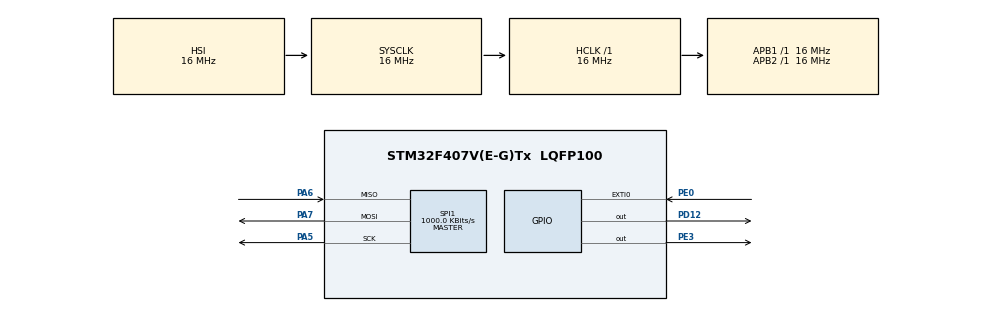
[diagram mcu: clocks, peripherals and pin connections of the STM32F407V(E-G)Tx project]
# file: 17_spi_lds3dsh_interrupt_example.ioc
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Mcu.Family=STM32F4
Mcu.Name=STM32F407V(E-G)Tx
Mcu.Package=LQFP100
NVIC.EXTI0_IRQn=true\:0\:0\:false\:false\:true\:true
NVIC.PriorityGroup=NVIC_PRIORITYGROUP_4
PA13.Mode=Serial_Wire
PA13.Signal=SYS_JTMS-SWDIO
PA14.Mode=Serial_Wire
PA14.Signal=SYS_JTCK-SWCLK
PA5.Mode=Full_Duplex_Master
PA5.Signal=SPI1_SCK
PA6.Mode=Full_Duplex_Master
PA6.Signal=SPI1_MISO
PA7.Mode=Full_Duplex_Master
PA7.Signal=SPI1_MOSI
PD12.PinState=GPIO_PIN_SET
PD12.Signal=GPIO_Output
PE0.Signal=GPXTI0
PE3.Signal=GPIO_Output
ProjectManager.HeapSize=0x200
ProjectManager.StackSize=0x400
ProjectManager.TargetToolchain=MDK-ARM V5
RCC.AHBFreq_Value=16000000
RCC.APB1Freq_Value=16000000
RCC.APB2Freq_Value=16000000
RCC.CortexFreq_Value=16000000
RCC.HSE_VALUE=25000000
RCC.HSI_VALUE=16000000
RCC.LSE_VALUE=32768
RCC.SYSCLKFreq_VALUE=16000000
RCC.VCOOutputFreq_Value=192000000
SPI1.BaudRatePrescaler=SPI_BAUDRATEPRESCALER_16
SPI1.CalculateBaudRate=1000.0 KBits/s
SPI1.Direction=SPI_DIRECTION_2LINES
SPI1.Mode=SPI_MODE_MASTER
SPI1.VirtualType=VM_MASTER
board=17_spi_lds3dsh_interrupt_example

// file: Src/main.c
/**
  ******************************************************************************
  * File Name          : main.c
  * Description        : Main program body
  ******************************************************************************
  ** This notice applies to any and all portions of this file
  * that are not between comment pairs USER CODE BEGIN and
  * USER CODE END. Other portions of this file, whether
  * inserted by the user or by software development tools
  * are owned by their respective copyright owners.
  *
  * COPYRIGHT(c) 2018 STMicroelectronics
  *
  * Redistribution and use in source and binary forms, with or without modification,
  * are permitted provided that the following conditions are met:
  *   1. Redistributions of source code must retain the above copyright notice,
  *      this list of conditions and the following disclaimer.
  *   2. Redistributions in binary form must reproduce the above copyright notice,
  *      this list of conditions and the following disclaimer in the documentation
  *      and/or other materials provided with the distribution.
  *   3. Neither the name of STMicroelectronics nor the names of its contributors
  *      may be used to endorse or promote products derived from this software
  *      without specific prior written permission.
  *
  * THIS SOFTWARE IS PROVIDED BY THE COPYRIGHT HOLDERS AND CONTRIBUTORS "AS IS"
  * AND ANY EXPRESS OR IMPLIED WARRANTIES, INCLUDING, BUT NOT LIMITED TO, THE
  * IMPLIED WARRANTIES OF MERCHANTABILITY AND FITNESS FOR A PARTICULAR PURPOSE ARE
  * DISCLAIMED. IN NO EVENT SHALL THE COPYRIGHT HOLDER OR CONTRIBUTORS BE LIABLE
  * FOR ANY DIRECT, INDIRECT, INCIDENTAL, SPECIAL, EXEMPLARY, OR CONSEQUENTIAL
  * DAMAGES (INCLUDING, BUT NOT LIMITED TO, PROCUREMENT OF SUBSTITUTE GOODS OR
  * SERVICES; LOSS OF USE, DATA, OR PROFITS; OR BUSINESS INTERRUPTION) HOWEVER
  * CAUSED AND ON ANY THEORY OF LIABILITY, WHETHER IN CONTRACT, STRICT LIABILITY,
  * OR TORT (INCLUDING NEGLIGENCE OR OTHERWISE) ARISING IN ANY WAY OUT OF THE USE
  * OF THIS SOFTWARE, EVEN IF ADVISED OF THE POSSIBILITY OF SUCH DAMAGE.
  *
  ******************************************************************************
  */
#include "main.h"
#include "stm32f4xx_hal.h"

/* USER CODE BEGIN Includes */
 uint8_t spiTxBuf[2],spiRxBuf[2];
/* USER CODE END Includes */

SPI_HandleTypeDef hspi1;

/* USER CODE BEGIN PV */
/* Private variables ---------------------------------------------------------*/

/* USER CODE END PV */

void SystemClock_Config(void);
static void MX_GPIO_Init(void);
static void MX_SPI1_Init(void);

/* USER CODE BEGIN PFP */
/* Private function prototypes -----------------------------------------------*/

/* USER CODE END PFP */

int main(void)
{

  /* MCU Configuration----------------------------------------------------------*/

  /* Reset of all peripherals, Initializes the Flash interface and the Systick. */
  HAL_Init();

  /* Configure the system clock */
  SystemClock_Config();

  /* Initialize all configured peripherals */
  MX_GPIO_Init();
  MX_SPI1_Init();

  /* USER CODE BEGIN 2 */

		/****** Spi Transmit******** */
		// 1.bring slave select low
		// write modu için e3 0 olmali,degil belli slave'e baglanmak için olmali....
		HAL_GPIO_WritePin(GPIOE,GPIO_PIN_3,GPIO_PIN_RESET);
		// 2.Transmit register + data
		spiTxBuf[0]=0x20;
		spiTxBuf[1]=0x11; // degistirdik deger 11 di frekans ile oynadik...
		// datasheetten bakabilirsin... 0000 4 bit e göre deger aliyor..
		HAL_SPI_Transmit(&hspi1,spiTxBuf,2,50); // 2 byte 50 ise timeout
																					 // 0x20 registerina 0x11 bilgisi gider.....
		// 3.Bring slave select high
		HAL_GPIO_WritePin(GPIOE,GPIO_PIN_3,GPIO_PIN_SET);

	 /* **********Spi Receive************ */

	// 1 .bring slave select low
	HAL_GPIO_WritePin(GPIOE,GPIO_PIN_3,GPIO_PIN_RESET);
	// 2.Transmit register +0x80 (to set MSB bit to high ,read mode)
	spiTxBuf[0]= 0x20|0x80; // en yüksek bit 1 oldu sanirsam..okuma modu olsun diye.
	HAL_SPI_Transmit(&hspi1,spiTxBuf,1,50); // Gönderdik.tek veri
	// 3.Receive data
	HAL_SPI_Receive(&hspi1,spiRxBuf,1,50); // Aldik.tek veri
	// 4.Bring slave selet high
	HAL_GPIO_WritePin(GPIOE,GPIO_PIN_3,GPIO_PIN_SET);

	  // 1.bring slave select low
		// write modu için e3 0 olmali ,degil belli slave'e baglanmak için olmali....
		HAL_GPIO_WritePin(GPIOE,GPIO_PIN_3,GPIO_PIN_RESET);
		// 2.Transmit register + data
		spiTxBuf[0]=0x23;   // cntrl_reg3 adresi
		spiTxBuf[1]=0xC8;   // interrupt1 aktif olacak bilgisi..
		HAL_SPI_Transmit(&hspi1,spiTxBuf,2,50); // 2 byte 50 ise timeout
																					 // 0x23 registerina 0xC8 bilgisi gider.....
		// 3.Bring slave select high
		HAL_GPIO_WritePin(GPIOE,GPIO_PIN_3,GPIO_PIN_SET);

	/* USER CODE END 2 */

  /* Infinite loop */
  while (1)
  {

		 // kodu asagidaki interrupt'in içine attik

  }

}

/** System Clock Configuration
*/
void SystemClock_Config(void)
{

  RCC_OscInitTypeDef RCC_OscInitStruct;
  RCC_ClkInitTypeDef RCC_ClkInitStruct;

    /**Configure the main internal regulator output voltage
    */
  __HAL_RCC_PWR_CLK_ENABLE();

  __HAL_PWR_VOLTAGESCALING_CONFIG(PWR_REGULATOR_VOLTAGE_SCALE1);

    /**Initializes the CPU, AHB and APB busses clocks
    */
  RCC_OscInitStruct.OscillatorType = RCC_OSCILLATORTYPE_HSI;
  RCC_OscInitStruct.HSIState = RCC_HSI_ON;
  RCC_OscInitStruct.HSICalibrationValue = 16;
  RCC_OscInitStruct.PLL.PLLState = RCC_PLL_NONE;
  if (HAL_RCC_OscConfig(&RCC_OscInitStruct) != HAL_OK)
  {
    _Error_Handler(__FILE__, __LINE__);
  }

    /**Initializes the CPU, AHB and APB busses clocks
    */
  RCC_ClkInitStruct.ClockType = RCC_CLOCKTYPE_HCLK|RCC_CLOCKTYPE_SYSCLK
                              |RCC_CLOCKTYPE_PCLK1|RCC_CLOCKTYPE_PCLK2;
  RCC_ClkInitStruct.SYSCLKSource = RCC_SYSCLKSOURCE_HSI;
  RCC_ClkInitStruct.AHBCLKDivider = RCC_SYSCLK_DIV1;
  RCC_ClkInitStruct.APB1CLKDivider = RCC_HCLK_DIV1;
  RCC_ClkInitStruct.APB2CLKDivider = RCC_HCLK_DIV1;

  if (HAL_RCC_ClockConfig(&RCC_ClkInitStruct, FLASH_LATENCY_0) != HAL_OK)
  {
    _Error_Handler(__FILE__, __LINE__);
  }

    /**Configure the Systick interrupt time
    */
  HAL_SYSTICK_Config(HAL_RCC_GetHCLKFreq()/1000);

    /**Configure the Systick
    */
  HAL_SYSTICK_CLKSourceConfig(SYSTICK_CLKSOURCE_HCLK);

  /* SysTick_IRQn interrupt configuration */
  HAL_NVIC_SetPriority(SysTick_IRQn, 0, 0);
}

/* SPI1 init function */
static void MX_SPI1_Init(void)
{

  /* SPI1 parameter configuration*/
  hspi1.Instance = SPI1;
  hspi1.Init.Mode = SPI_MODE_MASTER;
  hspi1.Init.Direction = SPI_DIRECTION_2LINES;
  hspi1.Init.DataSize = SPI_DATASIZE_8BIT;
  hspi1.Init.CLKPolarity = SPI_POLARITY_LOW;
  hspi1.Init.CLKPhase = SPI_PHASE_1EDGE;
  hspi1.Init.NSS = SPI_NSS_SOFT;
  hspi1.Init.BaudRatePrescaler = SPI_BAUDRATEPRESCALER_16;
  hspi1.Init.FirstBit = SPI_FIRSTBIT_MSB;
  hspi1.Init.TIMode = SPI_TIMODE_DISABLE;
  hspi1.Init.CRCCalculation = SPI_CRCCALCULATION_DISABLE;
  hspi1.Init.CRCPolynomial = 10;
  if (HAL_SPI_Init(&hspi1) != HAL_OK)
  {
    _Error_Handler(__FILE__, __LINE__);
  }

}

/** Configure pins as
        * Analog
        * Input
        * Output
        * EVENT_OUT
        * EXTI
*/
static void MX_GPIO_Init(void)
{

  GPIO_InitTypeDef GPIO_InitStruct;

  /* GPIO Ports Clock Enable */
  __HAL_RCC_GPIOE_CLK_ENABLE();
  __HAL_RCC_GPIOA_CLK_ENABLE();
  __HAL_RCC_GPIOD_CLK_ENABLE();

  /*Configure GPIO pin Output Level */
  HAL_GPIO_WritePin(GPIOE, GPIO_PIN_3, GPIO_PIN_RESET);

  /*Configure GPIO pin Output Level */
  HAL_GPIO_WritePin(GPIOD, GPIO_PIN_12, GPIO_PIN_SET);

  /*Configure GPIO pin : PE3 */
  GPIO_InitStruct.Pin = GPIO_PIN_3;
  GPIO_InitStruct.Mode = GPIO_MODE_OUTPUT_PP;
  GPIO_InitStruct.Pull = GPIO_NOPULL;
  GPIO_InitStruct.Speed = GPIO_SPEED_FREQ_LOW;
  HAL_GPIO_Init(GPIOE, &GPIO_InitStruct);

  /*Configure GPIO pin : PD12 */
  GPIO_InitStruct.Pin = GPIO_PIN_12;
  GPIO_InitStruct.Mode = GPIO_MODE_OUTPUT_PP;
  GPIO_InitStruct.Pull = GPIO_NOPULL;
  GPIO_InitStruct.Speed = GPIO_SPEED_FREQ_LOW;
  HAL_GPIO_Init(GPIOD, &GPIO_InitStruct);

  /*Configure GPIO pin : PE0 */
  GPIO_InitStruct.Pin = GPIO_PIN_0;
  GPIO_InitStruct.Mode = GPIO_MODE_IT_RISING;
  GPIO_InitStruct.Pull = GPIO_NOPULL;
  HAL_GPIO_Init(GPIOE, &GPIO_InitStruct);

  /* EXTI interrupt init*/
  HAL_NVIC_SetPriority(EXTI0_IRQn, 0, 0);
  HAL_NVIC_EnableIRQ(EXTI0_IRQn);

}

/* USER CODE BEGIN 4 */
void HAL_GPIO_EXTI_Callback(uint16_t GPIO_Pin)
{
  /* Prevent unused argument(s) compilation warning */
  UNUSED(GPIO_Pin);
  /* NOTE: This function Should not be modified, when the callback is needed,
           the HAL_GPIO_EXTI_Callback could be implemented in the user file
   */

	// 1 .bring slave select low
	HAL_GPIO_WritePin(GPIOE,GPIO_PIN_3,GPIO_PIN_RESET);
	// 2.Transmit register +0x80 (to set MSB bit to high ,read mode)
	spiTxBuf[0]= 0x29|0x80; // en yüksek bit 1 oldu sanirsam..okuma modu olsun diye.
		// 0x29 adresi ise X ekseninin Verisini okumak için...
	HAL_SPI_Transmit(&hspi1,spiTxBuf,1,50);
	// 3.Receive data
	HAL_SPI_Receive(&hspi1,spiRxBuf,1,50); // tek veri
	// 4.Bring slave selet high
	HAL_GPIO_WritePin(GPIOE,GPIO_PIN_3,GPIO_PIN_SET);

	HAL_GPIO_TogglePin(GPIOD,GPIO_PIN_12);
}
/* USER CODE END 4 */

void _Error_Handler(char * file, int line)
{
  while(1)
  {
  }
}

/************************ (C) COPYRIGHT STMicroelectronics *****END OF FILE****/
